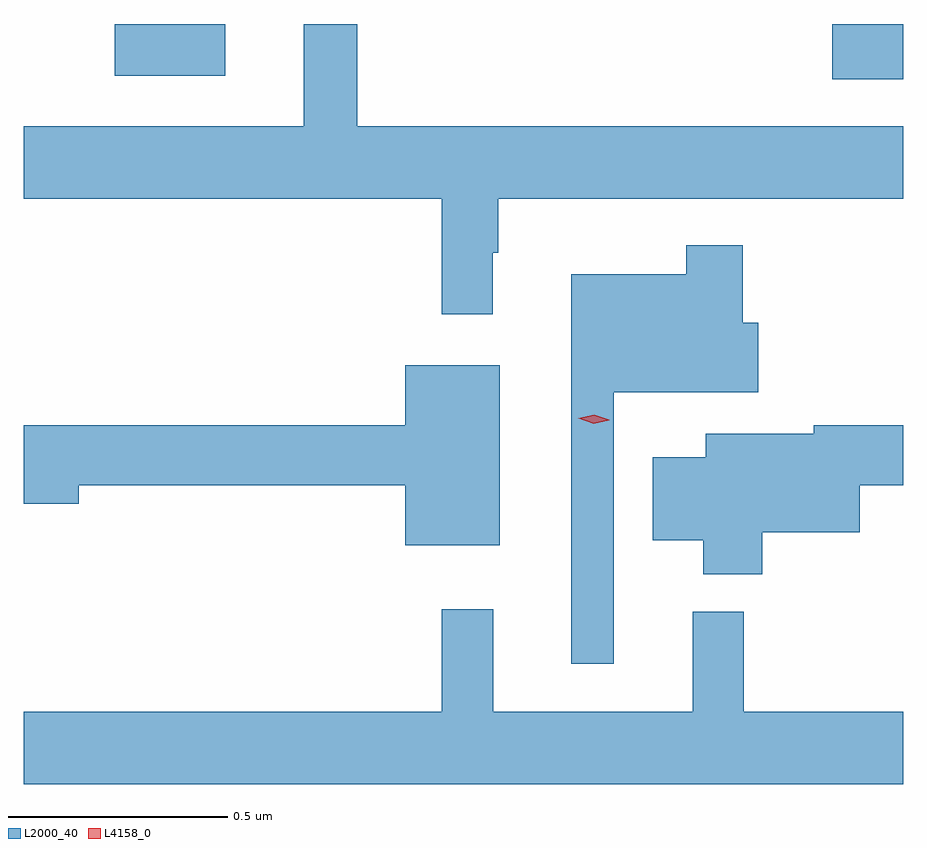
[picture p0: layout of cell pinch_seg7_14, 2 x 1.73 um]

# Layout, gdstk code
import gdstk
lib = gdstk.Library(unit=1e-6, precision=1e-09)
def R(c, l, rs):  # rectangles x0, y0, x1, y1
    for r in rs: c.add(gdstk.rectangle(r[:2], r[2:], *l))
def P(c, l, *ps):  # polygons
    for p in ps: c.add(gdstk.Polygon(p, *l))
L2000_40 = (2000, 40)
L4158_0 = (4158, 0)

pinch_seg7_14 = lib.new_cell('pinch_seg7_14')
R(pinch_seg7_14, L2000_40, [(1030.574,1050.171,1030.735,1050.297), (1028.942,1050.179,1029.193,1050.297)])
P(pinch_seg7_14, L2000_40, [(1029.802,1049.777),(1029.814,1049.777),(1029.814,1049.9),(1030.735,1049.9),(1030.735,1050.064),(1029.493,1050.064),(1029.493,1050.297),(1029.371,1050.297),(1029.371,1050.064),(1028.735,1050.064),(1028.735,1049.9),(1029.685,1049.9),(1029.685,1049.637),(1029.802,1049.637)],
  [(1030.077,1049.459),(1030.405,1049.459),(1030.405,1049.617),(1030.37,1049.617),(1030.37,1049.794),(1030.242,1049.794),(1030.242,1049.728),(1029.98,1049.728),(1029.98,1048.842),(1030.077,1048.842)],
  [(1029.817,1049.521),(1029.602,1049.521),(1029.602,1049.384),(1028.735,1049.384),(1028.735,1049.206),(1028.86,1049.206),(1028.86,1049.248),(1029.602,1049.248),(1029.602,1049.111),(1029.817,1049.111)],
  [(1030.415,1049.141),(1030.636,1049.141),(1030.636,1049.248),(1030.735,1049.248),(1030.735,1049.384),(1030.532,1049.384),(1030.532,1049.365),(1030.286,1049.365),(1030.286,1049.311),(1030.166,1049.311),(1030.166,1049.123),(1030.28,1049.123),(1030.28,1049.045),(1030.415,1049.045)],
  [(1030.735,1048.732),(1030.373,1048.732),(1030.373,1048.96),(1030.256,1048.96),(1030.256,1048.732),(1029.803,1048.732),(1029.803,1048.966),(1029.685,1048.966),(1029.685,1048.732),(1028.735,1048.732),(1028.735,1048.568),(1030.735,1048.568)])
P(pinch_seg7_14, L4158_0, [(1030.031,1049.388),(1029.996,1049.4),(1029.996,1049.4),(1029.996,1049.4),(1030.032,1049.408),(1030.067,1049.397),(1030.067,1049.397),(1030.067,1049.396)])

lib.write_gds('pinch_seg7_14.gds')
